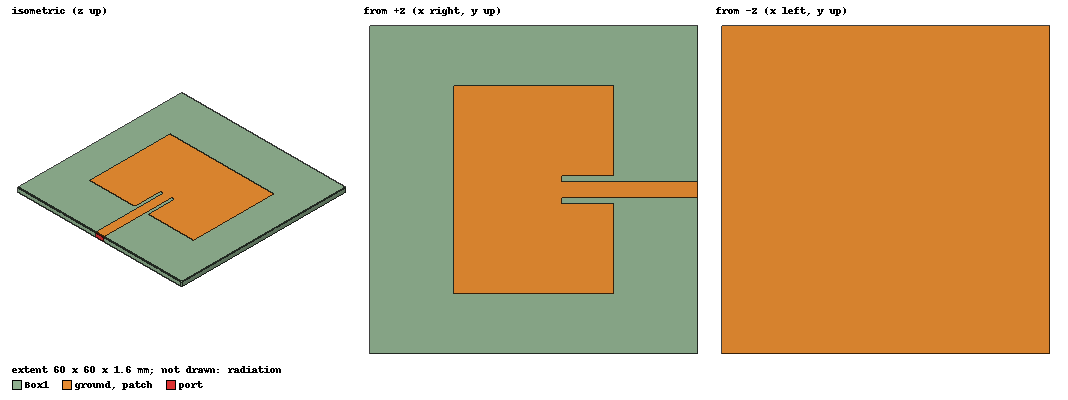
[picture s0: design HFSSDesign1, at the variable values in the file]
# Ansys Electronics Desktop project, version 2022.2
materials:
  vacuum: permittivity=1
  FR4_epoxy: permittivity=4.4 dielectric_loss_tangent=0.02
  air: permittivity=1.0006 permeability=1.0000004

design HFSSDesign1 (HFSS, DrivenModal, model units mm)
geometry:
  ground = rectangle(corner=(-30mm, -30mm, 0mm), x_size=60mm, y_size=60mm)
  Box1 [FR4_epoxy] = box(corner=(-30mm, -30mm, 0mm), size=(60mm, 60mm, 1.6mm))
  patch = rectangle(corner=((-29.4/2) mm, (-38/2) mm, 1.6mm), x_size=29.4mm, y_size=38mm)
  feed = rectangle(corner=(0mm, -1.5mm, 1.6mm), x_size=30mm, y_size=3mm)
  cut = rectangle(corner=(14.7mm, -2.5mm, 1.6mm), x_size=-9.5mm, y_size=5mm)
  patch.subtract(cut)
  patch.unite(feed)
  port = rectangle(corner=(30mm, -1.5mm, 1.6mm), y_size=3mm, z_size=-1.6mm)
  radiation [air] = box(corner=(-40mm, -40mm, -20mm), size=(80mm, 80mm, 40mm))
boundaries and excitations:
  PerfE1: Perfect E Objects=[ground, patch]
  Rad1: Radiation Objects=radiation
  1: Lumped Port Objects=port Modes{Mode1{IntLine{(30, 0, 0) -> (30, 0, 1.6)} CharImp=Zpi}} Impedance=50ohm
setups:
  Setup1: HfssDriven Frequency=2.4GHz MaxDeltaS=0.02 MaximumPasses=20 MinimumPasses=1 MinimumConvergedPasses=1 PercentRefinement=30 BasisOrder=1 PortAccuracy=2 DrivenSolverType="Direct Solver"
    sweep Sweep: 1GHz to 3GHz, 101 points; Type=Interpolating InterpTolerance=0.5 InterpMaxSolns=250 InterpUsePortImped=false PassivityErrorTolerance=0.0001
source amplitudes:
  1:1: 1W 0deg
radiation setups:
  Infinite Sphere1: Infinite Sphere Theta=0deg..180deg step 10deg Phi=0deg..360deg step 10deg
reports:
  S Parameter Plot 1: dB(S(1,1)) vs Freq on Setup1 : Sweep
  rE Plot 1: rETotal vs Phi, Theta on Setup1 : LastAdaptive, Infinite Sphere1 [Freq=2.4GHz]
